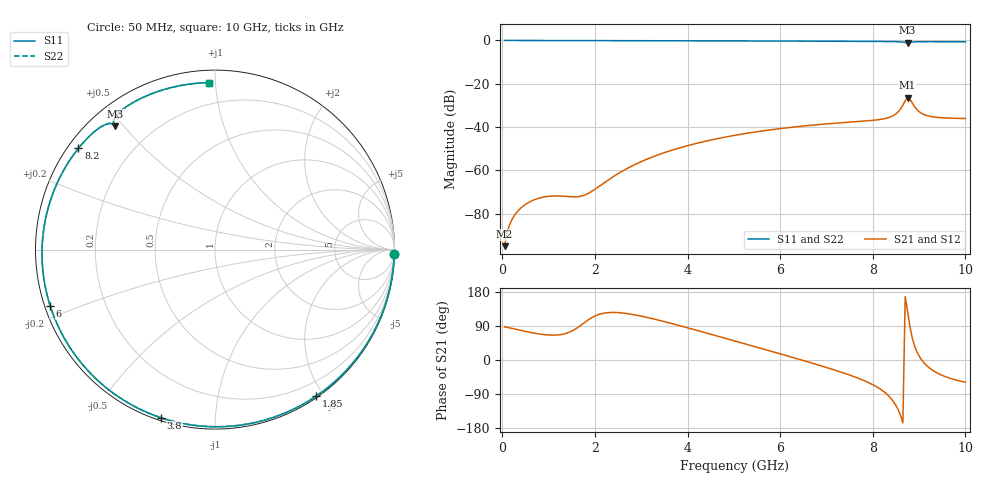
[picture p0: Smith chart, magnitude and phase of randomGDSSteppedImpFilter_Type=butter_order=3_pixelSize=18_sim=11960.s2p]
! freq	dB(S11)	phase(S11)	dB(S12)	phase(S12)
!  dB(S21)	phase(S21)	dB(S22)	phase(S22)
!S-par simulation data
#  GHz  S  DB  R 50
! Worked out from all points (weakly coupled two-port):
!   200 points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, 50 MHz to 10 GHz, reference 50 ohm
!   highest |S21| = -26.44 dB at 8.75 GHz (marker M1); lowest = -95.0 dB at 50 MHz (marker M2)
!   lowest |S11| = -1.1 dB at 8.75 GHz (marker M3), VSWR 16.05, Z = 3.82 + j23.8 ohm
!   |S11| at or under -10 dB: nowhere
!   |S22| runs from -1.1 to 0.0 dB; largest |S21 - S12| = 0
!   S11 on the Smith chart (normalised r, x): 50 MHz: 1, -77; 1.85 GHz: 0.02, -1.91; 3.8 GHz: 0.01, -0.73; 6 GHz: 0.02, -0.17; 8.2 GHz: 0.03, +0.33; 10 GHz: 0.07, +0.96
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0.05  -0.00 -1.5  -94.97 87.3  -94.97 87.3  -0.00 -1.5
0.3  -0.02 -9.2  -79.68 80.9  -79.68 80.9  -0.02 -9.2
0.55  -0.02 -16.8  -75.02 74.1  -75.02 74.1  -0.02 -16.8
0.85  -0.03 -25.9  -72.49 67.8  -72.49 67.8  -0.03 -26.0
1.75  -0.07 -52.5  -71.60 96.6  -71.60 96.6  -0.07 -52.5
1.85  -0.07 -55.4  -70.68 105.5  -70.68 105.5  -0.07 -55.4
2.65  -0.10 -77.7  -59.63 123.3  -59.63 123.3  -0.10 -77.7
3.4  -0.12 -97.5  -52.53 104.3  -52.53 104.3  -0.12 -97.6
3.8  -0.14 -107.7  -49.76 91.6  -49.76 91.6  -0.14 -107.8
5.05  -0.20 -138.4  -43.68 49.2  -43.68 49.2  -0.20 -138.5
6  -0.26 -161.1  -40.69 16.3  -40.69 16.3  -0.26 -161.2
6.7  -0.32 -178.0  -39.09 -8.6  -39.09 -8.6  -0.32 -178.1
7.45  -0.38 163.3  -37.80 -37.6  -37.80 -37.6  -0.38 163.2
8.2  -0.47 143.4  -36.32 -79.9  -36.32 -79.9  -0.47 143.3
8.35  -0.50 139.2  -35.55 -95.7  -35.55 -95.7  -0.50 139.0
8.55  -0.59 133.2  -32.94 -131.6  -32.94 -131.6  -0.59 133.0
8.75  -1.08 128.9  -26.44 129.7  -26.44 129.7  -1.09 128.7
8.8  -0.97 129.3  -26.98 89.8  -26.98 89.8  -0.97 129.1
8.95  -0.60 124.8  -31.86 22.5  -31.86 22.5  -0.60 124.6
9.15  -0.56 118.3  -34.54 -13.2  -34.54 -13.2  -0.56 118.1
9.45  -0.57 109.1  -35.63 -37.9  -35.63 -37.9  -0.57 108.9
10  -0.62 92.1  -36.02 -58.8  -36.02 -58.8  -0.62 91.9
